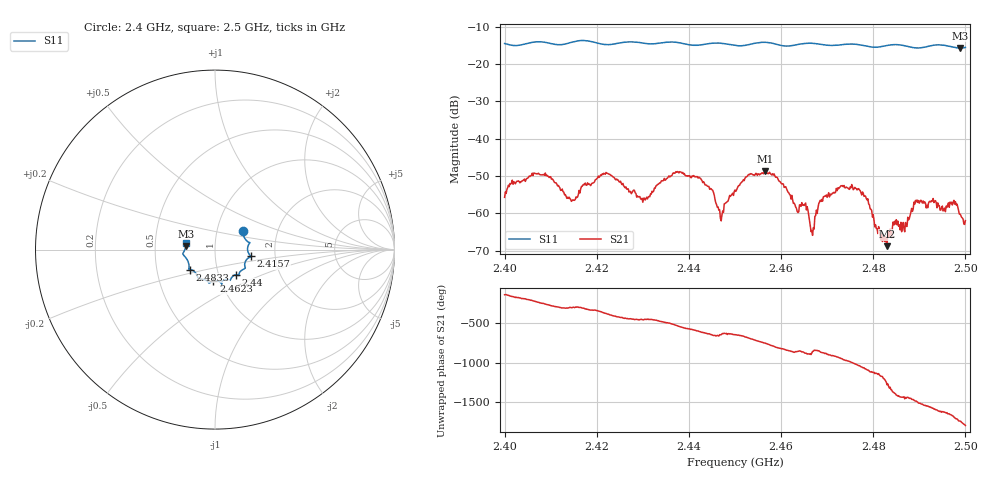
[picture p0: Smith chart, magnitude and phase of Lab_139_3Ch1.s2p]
# Hz S RI R 50
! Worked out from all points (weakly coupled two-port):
!   601 points, 2.4 GHz to 2.5 GHz, reference 50 ohm
!   highest |S21| = -48.80 dB at 2.4565 GHz (marker M1); lowest = -68.8 dB at 2.483 GHz (marker M2)
!   lowest |S11| = -15.7 dB at 2.4988 GHz (marker M3), VSWR 1.39, Z = 36 + j1.39 ohm
!   |S11| at or under -10 dB: start of sweep to end of sweep
!   S12 and S22 are empty: the file has one direction only
!   S11 on the Smith chart (normalised r, x): 2.4 GHz: 1.33, +0.29; 2.4157 GHz: 1.49, -0.12; 2.44 GHz: 1.21, -0.35; 2.4623 GHz: 0.92, -0.34; 2.4833 GHz: 0.74, -0.17; 2.5 GHz: 0.72, +0.06
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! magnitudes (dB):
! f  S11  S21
! 2.4 GHz  -14.5  -55.7
! 2.4068 GHz  -14.1  -49.4
! 2.4157 GHz  -13.8  -55.8
! 2.4167 GHz  -13.7  -52.8
! 2.4225 GHz  -14.8  -49.4
! 2.4302 GHz  -14.4  -56.0
! 2.4333 GHz  -14.4  -52.3
! 2.44 GHz  -14.8  -50.0
! 2.4448 GHz  -14.4  -53.5
! 2.447 GHz  -14.4  -62.0
! 2.45 GHz  -15.0  -53.8
! 2.4565 GHz  -14.2  -48.8
! 2.4623 GHz  -15.1  -55.2
! 2.4653 GHz  -14.5  -57.3
! 2.4667 GHz  -14.4  -64.6
! 2.469 GHz  -14.8  -56.8
! 2.4755 GHz  -14.7  -52.9
! 2.483 GHz  -15.0  -68.8
! 2.4833 GHz  -15.0  -66.4
! 2.4893 GHz  -15.7  -56.9
! 2.4988 GHz  -15.7  -60.2
! 2.5 GHz  -15.6  -62.0
